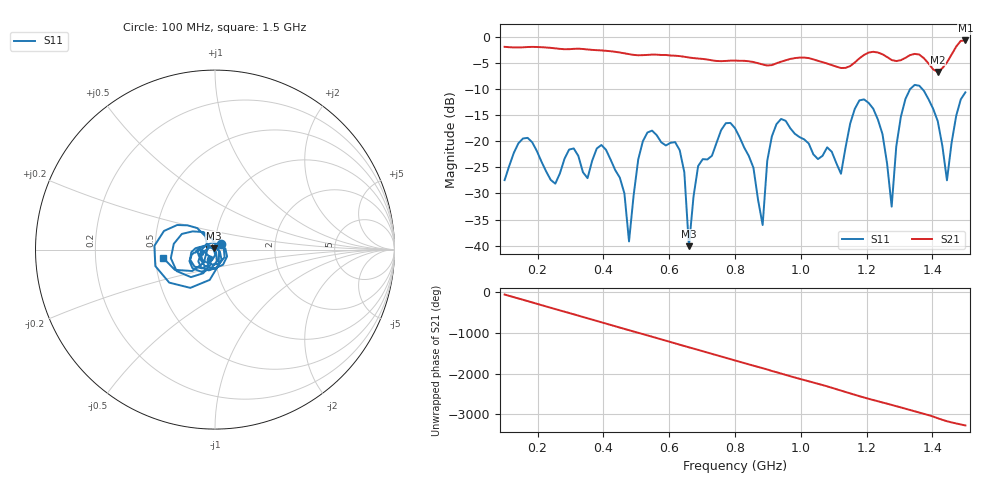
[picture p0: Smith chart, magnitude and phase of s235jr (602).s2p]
! NanoVNA-App
! Date: 2025-09-25 15:08:51
! Start: 100MHz Stop: 1,5GHz Points: 101
! S-Parameter data: F S11 S21 S12 S22
# Hz S RI R 50
!  Frequency  S11_Real  S11_Imag  S21_Real  S21_Imag  S12_Real  S12_Imag  S22_Real  S22_Imag
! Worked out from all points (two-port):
!   101 points, 100 MHz to 1.5 GHz, reference 50 ohm
!   highest |S21| = -0.75 dB at 1.5 GHz (marker M1); lowest = -6.8 dB at 1.416 GHz (marker M2)
!   |S21| within 3 dB of the highest: start of sweep to 632.8 MHz; 1.187 GHz to 1.258 GHz (70.57 MHz wide, 5.77 % of centre) (the widest 2 of 4)
!   lowest |S11| = -40.1 dB at 660 MHz (marker M3), VSWR 1.02, Z = 49.3 + j0.641 ohm
!   |S11| at or under -10 dB: start of sweep to 1.333 GHz; 1.368 GHz to end of sweep
!   S12 and S22 are empty: the file has one direction only
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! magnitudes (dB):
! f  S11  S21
! 100 MHz  -27.5  -2.0
! 170 MHz  -19.4  -2.0
! 338 MHz  -26.0  -2.4
! 408 MHz  -21.7  -2.7
! 478 MHz  -39.2  -3.4
! 520 MHz  -20.0  -3.6
! 576 MHz  -20.2  -3.5
! 632 MHz  -21.7  -3.7
! 660 MHz  -40.1  -4.0
! 688 MHz  -24.8  -4.2
! 800 MHz  -17.5  -4.6
! 884 MHz  -36.1  -5.3
! 926 MHz  -16.8  -5.1
! 1.038 GHz  -22.5  -4.4
! 1.122 GHz  -26.3  -6.0
! 1.192 GHz  -12.0  -3.5
! 1.248 GHz  -18.6  -3.4
! 1.276 GHz  -32.5  -4.5
! 1.332 GHz  -10.1  -3.5
! 1.416 GHz  -16.2  -6.8
! 1.444 GHz  -27.5  -4.9
! 1.5 GHz  -10.7  -0.7
